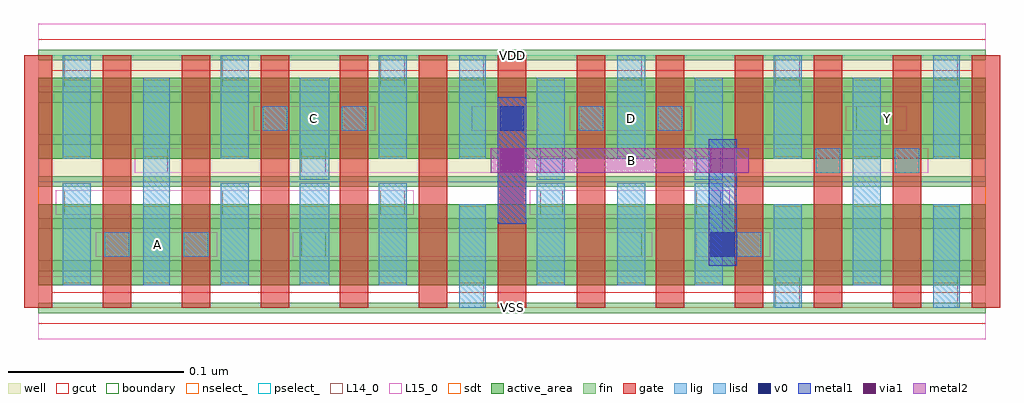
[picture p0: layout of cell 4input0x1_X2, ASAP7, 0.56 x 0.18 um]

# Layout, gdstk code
import gdstk
lib = gdstk.Library(unit=1e-6, precision=1e-09)
def R(c, l, rs):  # rectangles x0, y0, x1, y1
    for r in rs: c.add(gdstk.rectangle(r[:2], r[2:], *l))
def A(c, l, x, y, w, h, nx, ny, dx, dy):  # array of equal rectangles
    R(c, l, [(x+i*dx, y+j*dy, x+i*dx+w, y+j*dy+h) for i in range(nx) for j in range(ny)])
def P(c, l, *ps):  # polygons
    for p in ps: c.add(gdstk.Polygon(p, *l))
well = (1, 0)
fin = (2, 0)
gate = (7, 0)
gcut = (10, 0)
active_area = (11, 0)
nselect_ = (12, 0)
pselect_ = (13, 0)
L14_0 = (14, 0)
L15_0 = (15, 0)
lig = (16, 0)
lisd = (17, 0)
v0 = (18, 0)
metal1 = (19, 0)
metal2 = (20, 0)
via1 = (21, 0)
sdt = (88, 0)
boundary = (100, 0)

c_4input0x1_x2 = lib.new_cell('4input0x1_X2')
R(c_4input0x1_x2, well, [(0,0.072,0.54,0.144)])
A(c_4input0x1_x2, fin, 0, -0.003, 0.54, 0.006, 1, 7, 0, 0.024)
A(c_4input0x1_x2, gate, -0.008, 0, 0.016, 0.144, 13, 1, 0.045, 0)
P(c_4input0x1_x2, gcut, [(0,-0.009),(0,0),(-0.008,0),(-0.008,0.135),(0.008,0.135),(0.008,0.009),(0.217,0.009),(0.217,0.135),(0.233,0.135),(0.233,0.009),(0.532,0.009),(0.532,0.135),(-0.008,0.135),(-0.008,0.144),(0,0.144),(0,0.153),(0.54,0.153),(0.54,0.144),(0.548,0.144),(0.548,0),(0.54,0),(0.54,-0.009)])
R(c_4input0x1_x2, active_area, [(0,0.013,0.54,0.059), (0,0.085,0.54,0.131)])
R(c_4input0x1_x2, nselect_, [(0,0,0.54,0.072)])
R(c_4input0x1_x2, pselect_, [(0,0.072,0.54,0.144)])
A(c_4input0x1_x2, L14_0, 0.263, 0.101, 0.014, 0.014, 3, 1, 0.045, 0)
A(c_4input0x1_x2, L14_0, 0.24, 0.126, 0.014, 0.018, 4, 1, 0.09, 0)
R(c_4input0x1_x2, L14_0, [(0.24,0,0.254,0.018), (0.42,0,0.434,0.018), (0.51,0,0.524,0.018), (0.038,0.029,0.052,0.043), (0.083,0.029,0.097,0.043), (0.15,0.029,0.164,0.043), (0.33,0.029,0.344,0.043), (0.398,0.029,0.412,0.043), (0.015,0.053,0.03,0.067), (0.105,0.053,0.12,0.067), (0.195,0.053,0.209,0.067), (0.286,0.053,0.299,0.067), (0.375,0.053,0.389,0.067), (0.06,0.077,0.074,0.091), (0.15,0.077,0.164,0.091), (0.286,0.077,0.299,0.091), (0.375,0.077,0.389,0.091), (0.443,0.077,0.457,0.091), (0.488,0.077,0.502,0.091), (0.128,0.101,0.142,0.115), (0.173,0.101,0.187,0.115), (0.466,0.101,0.48,0.115), (0.015,0.126,0.03,0.144), (0.105,0.126,0.12,0.144), (0.195,0.126,0.209,0.144)])
R(c_4input0x1_x2, L15_0, [(0,-0.018,0.54,0.018), (0.033,0.029,0.102,0.043), (0.145,0.029,0.35,0.043), (0.375,0.029,0.417,0.043), (0.01,0.053,0.214,0.067), (0.28,0.053,0.394,0.067), (0.055,0.077,0.507,0.091), (0.123,0.101,0.192,0.115), (0.247,0.101,0.285,0.115), (0.303,0.101,0.372,0.115), (0.46,0.101,0.495,0.115), (0,0.126,0.54,0.162)])
A(c_4input0x1_x2, lig, 0.263, 0.101, 0.014, 0.014, 3, 1, 0.045, 0)
R(c_4input0x1_x2, lig, [(0.038,0.029,0.052,0.043), (0.083,0.029,0.097,0.043), (0.398,0.029,0.412,0.043), (0.443,0.077,0.457,0.091), (0.488,0.077,0.502,0.091), (0.128,0.101,0.142,0.115), (0.173,0.101,0.187,0.115)])
A(c_4input0x1_x2, lisd, 0.014, 0.013, 0.016, 0.058, 4, 1, 0.09, 0)
A(c_4input0x1_x2, lisd, 0.014, 0.085, 0.016, 0.059, 3, 1, 0.09, 0)
R(c_4input0x1_x2, lisd, [(0.24,0,0.255,0.059), (0.419,0,0.435,0.059), (0.51,0,0.525,0.059), (0.06,0.013,0.075,0.131), (0.149,0.013,0.166,0.071), (0.33,0.013,0.346,0.071), (0.374,0.013,0.39,0.071), (0.464,0.013,0.48,0.131), (0.149,0.073,0.166,0.131), (0.284,0.073,0.3,0.131), (0.374,0.073,0.39,0.131), (0.24,0.085,0.255,0.144), (0.33,0.085,0.346,0.144), (0.419,0.085,0.435,0.144), (0.51,0.085,0.525,0.144)])
R(c_4input0x1_x2, v0, [(0.383,0.029,0.397,0.043), (0.263,0.101,0.277,0.115)])
R(c_4input0x1_x2, metal1, [(0.382,0.024,0.398,0.096), (0.262,0.048,0.278,0.12)])
R(c_4input0x1_x2, metal2, [(0.258,0.077,0.405,0.091)])
R(c_4input0x1_x2, via1, [(0.263,0.077,0.277,0.091), (0.383,0.077,0.397,0.091)])
A(c_4input0x1_x2, sdt, 0.014, 0.014, 0.016, 0.044, 4, 2, 0.09, 0.072)
A(c_4input0x1_x2, sdt, 0.374, 0.014, 0.016, 0.044, 3, 2, 0.045, 0.072)
R(c_4input0x1_x2, sdt, [(0.06,0.014,0.075,0.058), (0.149,0.014,0.166,0.058), (0.24,0.014,0.255,0.058), (0.33,0.014,0.346,0.058), (0.51,0.014,0.525,0.058), (0.06,0.086,0.075,0.13), (0.149,0.086,0.166,0.13), (0.24,0.086,0.255,0.13), (0.33,0.086,0.346,0.13), (0.51,0.086,0.525,0.13)])
R(c_4input0x1_x2, boundary, [(0,0,0.54,0.144)])
c_4input0x1_x2.add(gdstk.Label('VSS', (0.27,0), layer=15, texttype=251))
c_4input0x1_x2.add(gdstk.Label('VDD', (0.27,0.144), layer=15, texttype=251))
c_4input0x1_x2.add(gdstk.Label('A', (0.068,0.036), layer=15, texttype=251))
c_4input0x1_x2.add(gdstk.Label('VSS', (0.27,0), layer=15, texttype=251))
c_4input0x1_x2.add(gdstk.Label('VDD', (0.27,0.144), layer=15, texttype=251))
c_4input0x1_x2.add(gdstk.Label('D', (0.338,0.108), layer=15, texttype=251))
c_4input0x1_x2.add(gdstk.Label('VSS', (0.27,0), layer=15, texttype=251))
c_4input0x1_x2.add(gdstk.Label('VDD', (0.27,0.144), layer=15, texttype=251))
c_4input0x1_x2.add(gdstk.Label('C', (0.157,0.108), layer=15, texttype=251))
c_4input0x1_x2.add(gdstk.Label('VSS', (0.27,0), layer=15, texttype=251))
c_4input0x1_x2.add(gdstk.Label('VDD', (0.27,0.144), layer=15, texttype=251))
c_4input0x1_x2.add(gdstk.Label('Y', (0.484,0.108), layer=15, texttype=251))
c_4input0x1_x2.add(gdstk.Label('VSS', (0.27,0), layer=15, texttype=251))
c_4input0x1_x2.add(gdstk.Label('VDD', (0.27,0.144), layer=15, texttype=251))
c_4input0x1_x2.add(gdstk.Label('B', (0.338,0.084), layer=20, texttype=251))
c_4input0x1_x2.add(gdstk.Label('VSS', (0.27,0), layer=3, texttype=251))
c_4input0x1_x2.add(gdstk.Label('VSS', (0.27,0), layer=3, texttype=251))
c_4input0x1_x2.add(gdstk.Label('VSS', (0.27,0), layer=3, texttype=251))
c_4input0x1_x2.add(gdstk.Label('VSS', (0.27,0), layer=3, texttype=251))
c_4input0x1_x2.add(gdstk.Label('VSS', (0.27,0), layer=3, texttype=251))
c_4input0x1_x2.add(gdstk.Label('VDD', (0.27,0.144), layer=1, texttype=251))
c_4input0x1_x2.add(gdstk.Label('VDD', (0.27,0.144), layer=1, texttype=251))
c_4input0x1_x2.add(gdstk.Label('VDD', (0.27,0.144), layer=1, texttype=251))
c_4input0x1_x2.add(gdstk.Label('VDD', (0.27,0.144), layer=1, texttype=251))
c_4input0x1_x2.add(gdstk.Label('VDD', (0.27,0.144), layer=1, texttype=251))

lib.write_gds('4input0x1_X2.gds')
